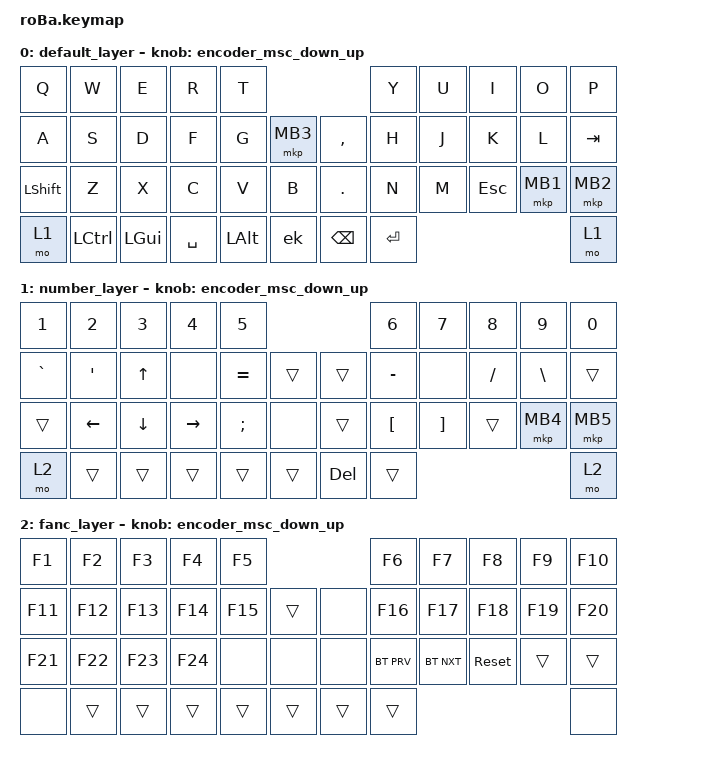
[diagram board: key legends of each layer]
#include <behaviors.dtsi>
#include <dt-bindings/zmk/bt.h>
#include <dt-bindings/zmk/keys.h>
#include <dt-bindings/zmk/pointing.h>

#define ZMK_POINTING_DEFAULT_SCRL_VAL 40

&trackball {
    // automouse-layer = <4>;
    // scroll-layers = <5>;
    // arrows {
    //     layers = <3>;
    //     bindings =
    //         <&kp RIGHT_ARROW>,
    //         <&kp LEFT_ARROW>,
    //         <&kp UP_ARROW>,
    //         <&kp DOWN_ARROW>;
    //     tick = <10>;
    //     wait-ms = <5>;
    //     tap-ms = <5>;
    // };
};

/ {
    combos { compatible = "zmk,combos"; };

    behaviors {
        encoder_msc_down_up: encoder_msc_down_up {
            compatible = "zmk,behavior-sensor-rotate";
            label = "ENCODER_MSC_DOWN_UP";
            #sensor-binding-cells = <0>;
            bindings = <&msc SCRL_DOWN>, <&msc SCRL_UP>;

            tap-ms = <70>;
        };
    };

    behaviors {
        ek: eisu_kana {
            compatible = "zmk,behavior-tap-dance";
            label = "Eisu / Kana";
            #binding-cells = <0>;
            bindings = <&kp LANGUAGE_2>, <&kp LANGUAGE_1>;

            tapping-term-ms = <250>;
        };
    };

    keymap {
        compatible = "zmk,keymap";

        default_layer {
            bindings = <
&kp Q           &kp W             &kp E         &kp R      &kp T                                      &kp Y      &kp U  &kp I       &kp O     &kp P
&kp A           &kp S             &kp D         &kp F      &kp G         &mkp MB3      &kp COMMA      &kp H      &kp J  &kp K       &kp L     &kp TAB
&kp LEFT_SHIFT  &kp Z             &kp X         &kp C      &kp V         &kp B         &kp DOT        &kp N      &kp M  &kp ESCAPE  &mkp MB1  &mkp MB2
&mo 1           &kp LEFT_CONTROL  &kp LEFT_GUI  &kp SPACE  &kp LEFT_ALT  &ek           &kp BACKSPACE  &kp ENTER                               &mo 1
            >;

            sensor-bindings = <&encoder_msc_down_up>;
        };

        number_layer {
            bindings = <
&kp NUMBER_1  &kp NUMBER_2  &kp NUMBER_3  &kp NUMBER_4  &kp NUMBER_5                           &kp NUMBER_6      &kp NUMBER_7       &kp NUMBER_8  &kp NUMBER_9   &kp NUMBER_0
&kp GRAVE     &kp APOS      &kp UP_ARROW  &none         &kp EQUAL      &trans      &trans      &kp MINUS         &none              &kp SLASH     &kp BACKSLASH  &trans
&trans        &kp LEFT      &kp DOWN      &kp RIGHT     &kp SEMICOLON  &none       &trans      &kp LEFT_BRACKET  &kp RIGHT_BRACKET  &trans        &mkp MB4       &mkp MB5
&mo 2         &trans        &trans        &trans        &trans         &trans      &kp DELETE  &trans                                                            &mo 2
            >;

            sensor-bindings = <&encoder_msc_down_up>;
        };

        fanc_layer {
            bindings = <
&kp F1   &kp F2   &kp F3   &kp F4   &kp F5                       &kp F6      &kp F7      &kp F8      &kp F9   &kp F10
&kp F11  &kp F12  &kp F13  &kp F14  &kp F15  &trans      &none   &kp F16     &kp F17     &kp F18     &kp F19  &kp F20
&kp F21  &kp F22  &kp F23  &kp F24  &none    &none       &none   &bt BT_PRV  &bt BT_NXT  &sys_reset  &trans   &trans
&none    &trans   &trans   &trans   &trans   &trans      &trans  &trans                                       &none
            >;

            sensor-bindings = <&encoder_msc_down_up>;
        };
    };
};
